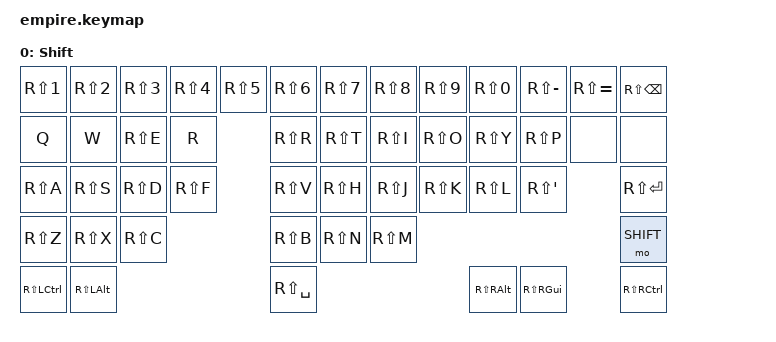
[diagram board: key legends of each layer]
#include <behaviors.dtsi>
#include <dt-bindings/zmk/keys.h>
#include <dt-bindings/zmk/bt.h>
#include <dt-bindings/zmk/outputs.h>
#include <dt-bindings/zmk/ext_power.h>

#define DEF		0
#define SHIFT	1

#define xxx		&none	
#define ___		&trans


/ {
	
	keymap {
		compatible = "zmk,keymap";

		default_layer { 
			display-name = "Default";
			bindings = <
&kp N1		  &kp N2		&kp N3		  &kp N4		&kp N5		  &kp N6		&kp N7		  &kp N8		&kp N9		  &kp N0		&kp MINUS	  &kp EQUAL		&kp BSPC
&kp Q		  &kp W			&kp E		  &kp R						  &kp R			&kp T		  &kp I			&kp O		  &kp Y			&kp P		  xxx			xxx
&kp A		  &kp S			&kp D		  &kp F						  &kp V			&kp H		  &kp J			&kp K		  &kp L			&kp APOS					&kp ENTER
&kp Z		  &kp X			&kp C		  							  &kp B			&kp N		  &kp M													  				&mo SHIFT
&kp LCTRL	  &kp LALT												  &kp SPACE												  &kp RALT		&kp RGUI					&kp RCTRL
			>;
		};
	
		default_layer { 
			display-name = "Shift";
			bindings = <
&kp RS(N1)	  &kp RS(N2)	&kp RS(N3)	  &kp RS(N4)	&kp RS(N5)	  &kp RS(N6)	&kp RS(N7)	  &kp RS(N8)	&kp RS(N9)	  &kp RS(N0)	&kp RS(MINUS) &kp RS(EQUAL)	&kp RS(BSPC)
&kp Q		  &kp W			&kp RS(E)	  &kp R						  &kp RS(R)		&kp RS(T)	  &kp RS(I)		&kp RS(O)	  &kp RS(Y)		&kp RS(P)	  xxx			xxx
&kp RS(A)	  &kp RS(S)		&kp RS(D)	  &kp RS(F)					  &kp RS(V)		&kp RS(H)	  &kp RS(J)		&kp RS(K)	  &kp RS(L)		&kp RS(APOS)				&kp RS(ENTER)
&kp RS(Z)	  &kp RS(X)		&kp RS(C)		  						  &kp RS(B)		&kp RS(N)	  &kp RS(M)																&mo SHIFT
&kp RS(LCTRL) &kp RS(LALT)											  &kp RS(SPACE)											  &kp RS(RALT)	&kp RS(RGUI)				&kp RS(RCTRL)
			>;
		};

// [0] = LAYOUT_default( /* Base */
// 		KC_1,		KC_2,	KC_3,	KC_4,	KC_5,	KC_6,	KC_7,	KC_8,	KC_9,	KC_0,		KC_MINS,	KC_EQL,	KC_BSPC,
// 		KC_Q,		KC_W,	KC_E,	KC_R,			KC_R,	KC_T,   KC_I,	KC_O,	KC_Y,		KC_P,		KC_NO,  KC_NO,
// 		KC_A,		KC_S,	KC_D,	KC_F,			KC_V,	KC_H,   KC_J,	KC_K,	KC_L,		KC_QUOT,			KC_ENT,
// 		KC_Z,		KC_X,	KC_C,					KC_B,   KC_N,	KC_M,									        MO(1),
// 		MO(1),	    KC_LALT,				KC_SPC,									KC_RALT,	KC_NO,			KC_RCTL
//     ),

//     [1] = LAYOUT_default( /* Shift */
//         S(KC_1),	S(KC_2),	S(KC_3),	S(KC_4),	S(KC_5),	S(KC_6),	S(KC_7),	S(KC_8),	S(KC_9),	S(KC_0),	S(KC_MINS),	S(KC_EQL),	S(KC_BSPC),
//         KC_Q,		KC_W,		S(KC_E),	KC_R,		            S(KC_R),	S(KC_T),	S(KC_I),	S(KC_O),	S(KC_Y),	S(KC_P),	KC_NO,      KC_NO,
//         S(KC_A),	S(KC_S),	S(KC_D),	S(KC_F),			    S(KC_V),	S(KC_H),	S(KC_J),    S(KC_K),	S(KC_L),	S(KC_QUOT),				S(KC_ENT),
//         S(KC_Z),	S(KC_X),	S(KC_C),							S(KC_B),    S(KC_N),	S(KC_M),            										MO(1),
// 			MO(1),  	S(KC_LALT),							S(KC_SPC),													S(KC_RALT),	KC_NO,		    		S(KC_RCTL)
//     ),

	
	};
};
